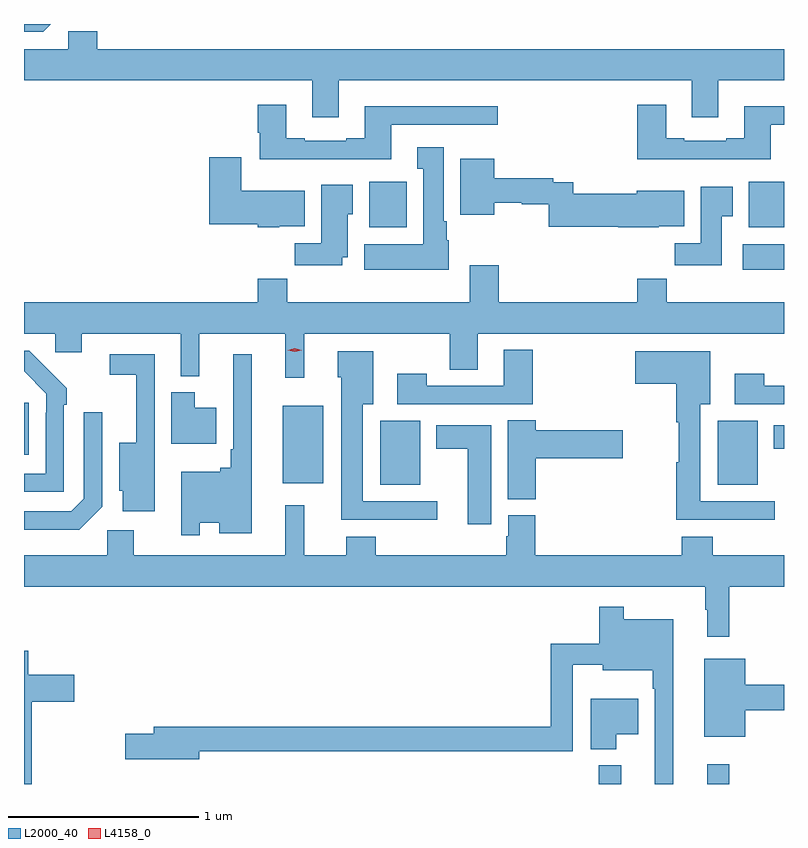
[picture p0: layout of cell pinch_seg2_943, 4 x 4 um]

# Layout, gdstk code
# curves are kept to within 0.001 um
import gdstk
lib = gdstk.Library(unit=1e-6, precision=1e-09)
def R(c, l, rs):  # rectangles x0, y0, x1, y1
    for r in rs: c.add(gdstk.rectangle(r[:2], r[2:], *l))
def P(c, l, *ps):  # polygons
    for p in ps: c.add(gdstk.Polygon(p, *l))
L2000_40 = (2000, 40)
L4158_0 = (4158, 0)

pinch_seg2_943 = lib.new_cell('pinch_seg2_943')
R(pinch_seg2_943, L2000_40, [(327.445,635.941,327.563,636.04), (328.016,635.941,328.133,636.046), (326.294,637.517,326.506,637.852), (328.07,637.517,328.282,637.852), (325.781,637.523,325.996,637.933), (324.42,637.673,324.445,637.948), (328.367,637.706,328.42,637.828), (328.203,638.648,328.42,638.782), (326.237,638.87,326.434,639.112), (328.235,638.87,328.42,639.112)])
P(pinch_seg2_943, L2000_40, [(324.561,639.941),(324.42,639.941),(324.42,639.9),(324.52,639.9)],
  [(326.077,639.644),(327.935,639.644),(327.935,639.45),(328.075,639.45),(328.075,639.644),(328.42,639.644),(328.42,639.808),(324.806,639.808),(324.806,639.904),(324.654,639.904),(324.654,639.808),(324.42,639.808),(324.42,639.644),(325.937,639.644),(325.937,639.45),(326.077,639.45)],
  [(326.353,639.411),(326.914,639.411),(326.914,639.508),(326.213,639.508),(326.213,639.34),(326.117,639.34),(326.117,639.327),(325.897,639.327),(325.897,639.34),(325.801,639.34),(325.801,639.517),(325.649,639.517),(325.649,639.369),(325.661,639.369),(325.661,639.23),(326.353,639.23)],
  [(328.351,639.411),(328.42,639.411),(328.42,639.508),(328.211,639.508),(328.211,639.34),(328.115,639.34),(328.115,639.327),(327.895,639.327),(327.895,639.34),(327.799,639.34),(327.799,639.517),(327.647,639.517),(327.647,639.23),(328.351,639.23)],
  [(326.656,638.802),(326.644,638.802),(326.644,638.902),(326.629,638.902),(326.629,639.292),(326.489,639.292),(326.489,639.179),(326.522,639.179),(326.522,638.782),(326.21,638.782),(326.21,638.648),(326.656,638.648)],
  [(325.764,638.876),(325.897,638.876),(325.897,639.064),(325.564,639.064),(325.564,639.241),(325.394,639.241),(325.394,638.888),(325.65,638.888),(325.65,638.87),(325.764,638.87)],
  [(327.762,638.876),(327.895,638.876),(327.895,639.064),(327.644,639.064),(327.644,639.047),(327.31,639.047),(327.31,639.108),(327.206,639.108),(327.206,639.128),(326.896,639.128),(326.896,639.232),(326.717,639.232),(326.717,638.936),(326.896,638.936),(326.896,639),(327.039,639),(327.039,638.992),(327.182,638.992),(327.182,638.875),(327.548,638.875),(327.548,638.87),(327.762,638.87)],
  [(326.095,638.714),(326.125,638.714),(326.125,638.94),(326.149,638.94),(326.149,639.094),(325.985,639.094),(325.985,638.788),(325.846,638.788),(325.846,638.67),(326.095,638.67)],
  [(328.093,638.929),(328.15,638.929),(328.15,639.085),(327.983,639.085),(327.983,638.788),(327.844,638.788),(327.844,638.67),(328.093,638.67)],
  [(325.894,638.312),(326.662,638.312),(326.662,638.122),(326.809,638.122),(326.809,638.312),(328.42,638.312),(328.42,638.476),(327.803,638.476),(327.803,638.6),(327.647,638.6),(327.647,638.476),(326.918,638.476),(326.918,638.671),(326.765,638.671),(326.765,638.476),(325.805,638.476),(325.805,638.6),(325.649,638.6),(325.649,638.476),(324.42,638.476),(324.42,638.312),(324.585,638.312),(324.585,638.214),(324.724,638.214),(324.724,638.312),(325.244,638.312),(325.244,638.087),(325.343,638.087),(325.343,638.312),(325.796,638.312),(325.796,638.079),(325.894,638.079)],
  [(327.098,638.227),(326.945,638.227),(326.945,638.037),(326.541,638.037),(326.541,638.101),(326.385,638.101),(326.385,637.941),(327.098,637.941)],
  [(324.63,637.937),(324.645,637.937),(324.645,638.025),(324.448,638.22),(324.42,638.22),(324.42,638.113),(324.537,637.995),(324.537,637.895),(324.534,637.895),(324.534,637.575),(324.42,637.575),(324.42,637.479),(324.63,637.479)],
  [(328.372,637.428),(327.979,637.428),(327.979,637.94),(328.033,637.94),(328.033,638.218),(327.636,638.218),(327.636,638.048),(327.854,638.048),(327.854,637.844),(327.866,637.844),(327.866,637.635),(327.854,637.635),(327.854,637.331),(328.372,637.331)],
  [(326.596,637.428),(326.203,637.428),(326.203,637.94),(326.257,637.94),(326.257,638.218),(326.072,638.218),(326.072,638.082),(326.09,638.082),(326.09,637.331),(326.596,637.331)],
  [(325.344,637.316),(325.448,637.316),(325.448,637.262),(325.618,637.262),(325.618,638.203),(325.521,638.203),(325.521,637.702),(325.509,637.702),(325.509,637.606),(325.452,637.606),(325.452,637.585),(325.248,637.585),(325.248,637.251),(325.344,637.251)],
  [(325.107,638.202),(324.87,638.202),(324.87,638.094),(325.01,638.094),(325.01,637.738),(324.92,637.738),(324.92,637.485),(324.941,637.485),(324.941,637.376),(325.107,637.376)],
  [(328.42,638.037),(328.317,638.037),(328.317,638.101),(328.161,638.101),(328.161,637.941),(328.42,637.941)],
  [(325.432,637.921),(325.318,637.921),(325.318,638.002),(325.196,638.002),(325.196,637.733),(325.432,637.733)],
  [(324.831,637.401),(324.831,637.897),(324.735,637.897),(324.735,637.443),(324.669,637.377),(324.42,637.377),(324.42,637.28),(324.71,637.28)],
  [(327.113,637.655),(327.571,637.655),(327.571,637.802),(327.113,637.802),(327.113,637.856),(326.966,637.856),(326.966,637.441),(327.113,637.441)],
  [(326.878,637.828),(326.591,637.828),(326.591,637.706),(326.756,637.706),(326.756,637.308),(326.878,637.308)],
  [(328.005,636.857),(328.016,636.857),(328.016,636.717),(328.133,636.717),(328.133,636.98),(328.42,636.98),(328.42,637.144),(328.046,637.144),(328.046,637.243),(327.881,637.243),(327.881,637.144),(327.11,637.144),(327.11,637.356),(326.969,637.356),(326.969,637.245),(326.957,637.245),(326.957,637.144),(326.27,637.144),(326.27,637.243),(326.117,637.243),(326.117,637.144),(325.896,637.144),(325.896,637.408),(325.796,637.408),(325.796,637.144),(324.997,637.144),(324.997,637.276),(324.858,637.276),(324.858,637.144),(324.42,637.144),(324.42,636.98),(328.005,636.98)],
  [(327.838,636.808),(327.577,636.808),(327.577,636.874),(327.448,636.874),(327.448,636.679),(327.193,636.679),(327.193,636.242),(325.103,636.242),(325.103,636.206),(324.954,636.206),(324.954,636.071),(325.342,636.071),(325.342,636.114),(327.309,636.114),(327.309,636.569),(327.467,636.569),(327.467,636.539),(327.729,636.539),(327.729,636.443),(327.741,636.443),(327.741,635.941),(327.838,635.941)],
  [(324.461,636.374),(324.685,636.374),(324.685,636.516),(324.442,636.516),(324.442,636.643),(324.42,636.643),(324.42,635.941),(324.461,635.941)],
  [(328.216,636.328),(328.42,636.328),(328.42,636.464),(328.216,636.464),(328.216,636.601),(328.001,636.601),(328.001,636.191),(328.216,636.191)],
  [(327.538,636.203),(327.652,636.203),(327.652,636.391),(327.404,636.391),(327.404,636.125),(327.538,636.125)])
P(pinch_seg2_943, L4158_0, [(325.844,638.215),(325.808,638.225),(325.808,638.225),(325.808,638.225),(325.845,638.235),(325.881,638.225),(325.881,638.225),(325.881,638.224)])

lib.write_gds('pinch_seg2_943.gds')
